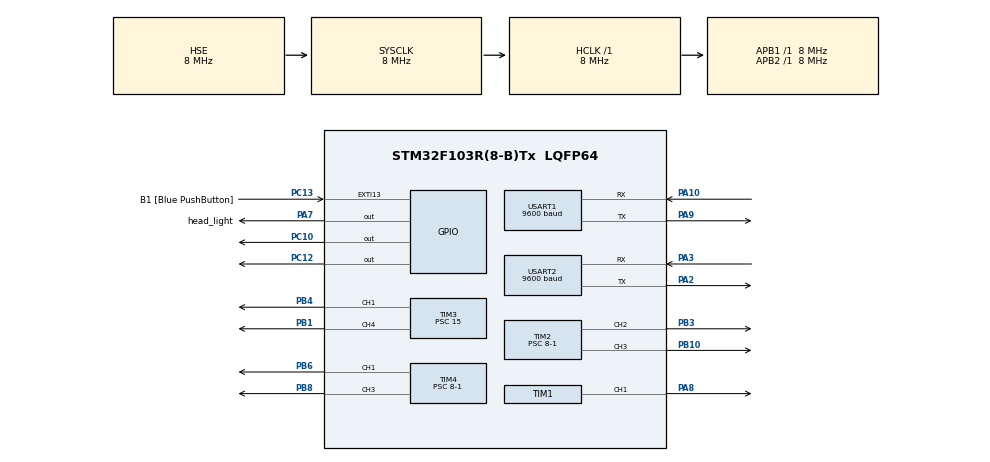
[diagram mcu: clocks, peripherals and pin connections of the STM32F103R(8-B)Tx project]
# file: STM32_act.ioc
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Mcu.Family=STM32F1
Mcu.Name=STM32F103R(8-B)Tx
Mcu.Package=LQFP64
NVIC.EXTI15_10_IRQn=true\:0\:0\:false\:false\:true\:true\:true\:true
NVIC.PriorityGroup=NVIC_PRIORITYGROUP_4
NVIC.TIM2_IRQn=true\:0\:0\:false\:false\:true\:true\:true\:true
NVIC.USART1_IRQn=true\:0\:0\:false\:false\:true\:true\:true\:true
PA10.Mode=Asynchronous
PA10.Signal=USART1_RX
PA13.GPIO_Label=TMS
PA13.Mode=Serial_Wire
PA13.Signal=SYS_JTMS-SWDIO
PA14.GPIO_Label=TCK
PA14.Mode=Serial_Wire
PA14.Signal=SYS_JTCK-SWCLK
PA2.Mode=Asynchronous
PA2.Signal=USART2_TX
PA3.Mode=Asynchronous
PA3.Signal=USART2_RX
PA7.GPIO_Label=head_light
PA7.Signal=GPIO_Output
PA8.Signal=S_TIM1_CH1
PA9.Mode=Asynchronous
PA9.Signal=USART1_TX
PB1.Signal=S_TIM3_CH4
PB10.Signal=S_TIM2_CH3
PB3.Signal=S_TIM2_CH2
PB4.Signal=S_TIM3_CH1
PB6.Signal=S_TIM4_CH1
PB8.Signal=S_TIM4_CH3
PC10.Signal=GPIO_Output
PC12.Signal=GPIO_Output
PC13-TAMPER-RTC.GPIO_Label=B1 [Blue PushButton]
PC13-TAMPER-RTC.GPIO_PuPd=GPIO_NOPULL
PC13-TAMPER-RTC.Signal=GPXTI13
PC14-OSC32_IN.Mode=LSE-External-Oscillator
PC14-OSC32_IN.Signal=RCC_OSC32_IN
PC15-OSC32_OUT.Mode=LSE-External-Oscillator
PC15-OSC32_OUT.Signal=RCC_OSC32_OUT
PD0-OSC_IN.Mode=HSE-External-Clock-Source
PD0-OSC_IN.Signal=RCC_OSC_IN
PD1-OSC_OUT.Mode=HSE-External-Clock-Source
PD1-OSC_OUT.Signal=RCC_OSC_OUT
ProjectManager.HeapSize=0x200
ProjectManager.StackSize=0x400
ProjectManager.TargetToolchain=STM32CubeIDE
RCC.AHBFreq_Value=8000000
RCC.APB1Freq_Value=8000000
RCC.APB1TimFreq_Value=8000000
RCC.APB2Freq_Value=8000000
RCC.APB2TimFreq_Value=8000000
RCC.HCLKFreq_Value=8000000
RCC.PLLMUL=RCC_PLL_MUL16
RCC.RTCClockSelection=RCC_RTCCLKSOURCE_LSE
RCC.SYSCLKFreq_VALUE=8000000
RCC.SYSCLKSource=RCC_SYSCLKSOURCE_HSE
RCC.USBFreq_Value=64000000
SH.S_TIM1_CH1.0=TIM1_CH1,PWM Generation1 CH1
SH.S_TIM2_CH2.0=TIM2_CH2,PWM Generation2 CH2
SH.S_TIM2_CH3.0=TIM2_CH3,PWM Generation3 CH3
SH.S_TIM3_CH1.0=TIM3_CH1,PWM Generation1 CH1
SH.S_TIM3_CH4.0=TIM3_CH4,PWM Generation4 CH4
SH.S_TIM4_CH1.0=TIM4_CH1,PWM Generation1 CH1
SH.S_TIM4_CH3.0=TIM4_CH3,PWM Generation3 CH3
TIM1.Channel-PWM\ Generation1\ CH1=TIM_CHANNEL_1
TIM1.Period=9999
TIM1.Prescaler=15
TIM1.Pulse-PWM\ Generation1\ CH1=850
TIM2.Channel-PWM\ Generation2\ CH2=TIM_CHANNEL_2
TIM2.Channel-PWM\ Generation3\ CH3=TIM_CHANNEL_3
TIM2.Period=1000-1
TIM2.Prescaler=8-1
TIM3.Channel-PWM\ Generation1\ CH1=TIM_CHANNEL_1
TIM3.Channel-PWM\ Generation4\ CH4=TIM_CHANNEL_4
TIM3.Period=9999
TIM3.Prescaler=15
TIM4.Channel-PWM\ Generation1\ CH1=TIM_CHANNEL_1
TIM4.Channel-PWM\ Generation3\ CH3=TIM_CHANNEL_3
TIM4.Period=1000-1
TIM4.Prescaler=8-1
USART1.BaudRate=9600
USART1.VirtualMode=VM_ASYNC
USART2.BaudRate=9600
USART2.VirtualMode=VM_ASYNC
VP_TIM1_VS_ClockSourceINT.Mode=Internal
VP_TIM3_VS_ClockSourceINT.Mode=Internal
board=NUCLEO-F103RB

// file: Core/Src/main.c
/* USER CODE BEGIN Header */
/**
  ******************************************************************************
  * @file           : main.c
  * @brief          : Main program body
  ******************************************************************************
  * @attention
  *
  * Copyright (c) 2025 STMicroelectronics.
  * All rights reserved.
  *
  * This software is licensed under terms that can be found in the LICENSE file
  * in the root directory of this software component.
  * If no LICENSE file comes with this software, it is provided AS-IS.
  *
  ******************************************************************************
  */
/* USER CODE END Header */
#include "main.h"

/* USER CODE BEGIN Includes */
#include "led_driver.h"
#include "buzzer_driver.h"
#include "fan_driver.h"
#include "rgb_driver.h"
#include "scheduler_stm.h"
#include "servo_driver.h"
#include "uart.h"
#include "uart_packet.h"
/* USER CODE END Includes */

TIM_HandleTypeDef htim1;
TIM_HandleTypeDef htim2;
TIM_HandleTypeDef htim3;
TIM_HandleTypeDef htim4;

UART_HandleTypeDef huart1;
UART_HandleTypeDef huart2;

void SystemClock_Config(void);
static void MX_GPIO_Init(void);
static void MX_TIM1_Init(void);
static void MX_TIM3_Init(void);
static void MX_TIM2_Init(void);
static void MX_TIM4_Init(void);
static void MX_USART1_UART_Init(void);
static void MX_USART2_UART_Init(void);
/* USER CODE BEGIN PFP */

/****task prototype******/
void initControlValue(void);
void testTask(void);
void seatTask(void);
void windowTask(void);
void fanTask(void);
void ledTask(void);
void rgbTask(void);
void buzzerTask(void);
void handlePacket(void);
/* USER CODE END PFP */

/* USER CODE BEGIN 0 */
////시스템 시작하자마자 태스크 실행하려면 status = ACTIVATED로 해주면 됩니다.
task_t taskTable[NUM_TASK] = {
  //{task_func_ptr, offsetTime, period, waitedTime, status}
	//{testTask, 1000, 2000, 0, DEACTIVATED},
	{seatTask, 0, 20, 0, ACTIVATED},
	{windowTask, 0, 20, 0, ACTIVATED},
	{fanTask, 0, 75, 0, ACTIVATED},
	{ledTask, 0, 50, 0, ACTIVATED},
	{rgbTask, 0, 100, 0, ACTIVATED},
	{buzzerTask, 0, 10, 0, DEACTIVATED}
};

////for uart
#define RX_BUFFER_SIZE 256

static uint8_t rx_buffer[RX_BUFFER_SIZE];
static struct ActuatorPacket controlPacket = {0,};
uint8_t packetReceived = 0;

static uint8_t tx_buffer[RX_BUFFER_SIZE]; //debug
static struct ActuatorPacket testpacket = {0,}; //debug

typedef enum uart_stage{
    START = 1,
    ID = 2,
    PAYLOAD = 3,
}uart_stage_t;
static uart_stage_t RxStage = START;

/* USER CODE END 0 */

int main(void)
{

  /* MCU Configuration--------------------------------------------------------*/

  /* Reset of all peripherals, Initializes the Flash interface and the Systick. */
  HAL_Init();

  /* Configure the system clock */
  SystemClock_Config();

  /* Initialize all configured peripherals */
  MX_GPIO_Init();
  MX_TIM1_Init();
  MX_TIM3_Init();
  MX_TIM2_Init();
  MX_TIM4_Init();
  MX_USART1_UART_Init();
  MX_USART2_UART_Init();
  /* USER CODE BEGIN 2 */
  initBuzzer();
  initFan();
  initRgb();
  initServo();
  initControlValue();
  initScheduler();

  if(HAL_UART_Receive_IT(&huart1,rx_buffer,1) != HAL_OK){
  	  Error_Handler();
  }

//  if(HAL_UART_Receive_IT(&huart1,rx_buffer + rxPtr,ACTUATOR_PACKET_SIZE) != HAL_OK){
//	  Error_Handler();
//  }

//	controlPacket.driving_mode = DRIVING_TERNEL; // driving_mode 말고 led_rgb 태스크에서 4번째 비트가 1이면 밝기 줄이기
//	controlPacket.servo_chair = 1200;
//	controlPacket.servo_window = 450;
//	controlPacket.led = 1;
//	controlPacket.buzzer = 1;
//	controlPacket.fan = 2;
//	controlPacket.led_rgb = 0x4;
  /* USER CODE END 2 */

  /* Infinite loop */
  /* USER CODE BEGIN WHILE */
  while (1)
  {
    if(packetReceived == 1)
    {
      packetReceived = 0;
      handlePacket();
      //printActuatorPacket();
      RxStage = START;
      HAL_UART_Receive_IT(&huart1,rx_buffer,1);
    }
    scheduler();

    /* USER CODE END WHILE */

  }
}

void SystemClock_Config(void)
{
  RCC_OscInitTypeDef RCC_OscInitStruct = {0};
  RCC_ClkInitTypeDef RCC_ClkInitStruct = {0};

  /** Initializes the RCC Oscillators according to the specified parameters
  * in the RCC_OscInitTypeDef structure.
  */
  RCC_OscInitStruct.OscillatorType = RCC_OSCILLATORTYPE_HSE;
  RCC_OscInitStruct.HSEState = RCC_HSE_BYPASS;
  RCC_OscInitStruct.PLL.PLLState = RCC_PLL_NONE;
  if (HAL_RCC_OscConfig(&RCC_OscInitStruct) != HAL_OK)
  {
    Error_Handler();
  }

  /** Initializes the CPU, AHB and APB buses clocks
  */
  RCC_ClkInitStruct.ClockType = RCC_CLOCKTYPE_HCLK|RCC_CLOCKTYPE_SYSCLK
                              |RCC_CLOCKTYPE_PCLK1|RCC_CLOCKTYPE_PCLK2;
  RCC_ClkInitStruct.SYSCLKSource = RCC_SYSCLKSOURCE_HSE;
  RCC_ClkInitStruct.AHBCLKDivider = RCC_SYSCLK_DIV1;
  RCC_ClkInitStruct.APB1CLKDivider = RCC_HCLK_DIV1;
  RCC_ClkInitStruct.APB2CLKDivider = RCC_HCLK_DIV1;

  if (HAL_RCC_ClockConfig(&RCC_ClkInitStruct, FLASH_LATENCY_0) != HAL_OK)
  {
    Error_Handler();
  }
}

static void MX_TIM1_Init(void)
{

  TIM_ClockConfigTypeDef sClockSourceConfig = {0};
  TIM_MasterConfigTypeDef sMasterConfig = {0};
  TIM_OC_InitTypeDef sConfigOC = {0};
  TIM_BreakDeadTimeConfigTypeDef sBreakDeadTimeConfig = {0};

  htim1.Instance = TIM1;
  htim1.Init.Prescaler = 15;
  htim1.Init.CounterMode = TIM_COUNTERMODE_UP;
  htim1.Init.Period = 9999;
  htim1.Init.ClockDivision = TIM_CLOCKDIVISION_DIV1;
  htim1.Init.RepetitionCounter = 0;
  htim1.Init.AutoReloadPreload = TIM_AUTORELOAD_PRELOAD_DISABLE;
  if (HAL_TIM_Base_Init(&htim1) != HAL_OK)
  {
    Error_Handler();
  }
  sClockSourceConfig.ClockSource = TIM_CLOCKSOURCE_INTERNAL;
  if (HAL_TIM_ConfigClockSource(&htim1, &sClockSourceConfig) != HAL_OK)
  {
    Error_Handler();
  }
  if (HAL_TIM_PWM_Init(&htim1) != HAL_OK)
  {
    Error_Handler();
  }
  sMasterConfig.MasterOutputTrigger = TIM_TRGO_RESET;
  sMasterConfig.MasterSlaveMode = TIM_MASTERSLAVEMODE_DISABLE;
  if (HAL_TIMEx_MasterConfigSynchronization(&htim1, &sMasterConfig) != HAL_OK)
  {
    Error_Handler();
  }
  sConfigOC.OCMode = TIM_OCMODE_PWM1;
  sConfigOC.Pulse = 850;
  sConfigOC.OCPolarity = TIM_OCPOLARITY_HIGH;
  sConfigOC.OCNPolarity = TIM_OCNPOLARITY_HIGH;
  sConfigOC.OCFastMode = TIM_OCFAST_DISABLE;
  sConfigOC.OCIdleState = TIM_OCIDLESTATE_RESET;
  sConfigOC.OCNIdleState = TIM_OCNIDLESTATE_RESET;
  if (HAL_TIM_PWM_ConfigChannel(&htim1, &sConfigOC, TIM_CHANNEL_1) != HAL_OK)
  {
    Error_Handler();
  }
  sBreakDeadTimeConfig.OffStateRunMode = TIM_OSSR_DISABLE;
  sBreakDeadTimeConfig.OffStateIDLEMode = TIM_OSSI_DISABLE;
  sBreakDeadTimeConfig.LockLevel = TIM_LOCKLEVEL_OFF;
  sBreakDeadTimeConfig.DeadTime = 0;
  sBreakDeadTimeConfig.BreakState = TIM_BREAK_DISABLE;
  sBreakDeadTimeConfig.BreakPolarity = TIM_BREAKPOLARITY_HIGH;
  sBreakDeadTimeConfig.AutomaticOutput = TIM_AUTOMATICOUTPUT_DISABLE;
  if (HAL_TIMEx_ConfigBreakDeadTime(&htim1, &sBreakDeadTimeConfig) != HAL_OK)
  {
    Error_Handler();
  }
  HAL_TIM_MspPostInit(&htim1);

}

static void MX_TIM2_Init(void)
{

  TIM_MasterConfigTypeDef sMasterConfig = {0};
  TIM_OC_InitTypeDef sConfigOC = {0};

  htim2.Instance = TIM2;
  htim2.Init.Prescaler = 8-1;
  htim2.Init.CounterMode = TIM_COUNTERMODE_UP;
  htim2.Init.Period = 1000-1;
  htim2.Init.ClockDivision = TIM_CLOCKDIVISION_DIV1;
  htim2.Init.AutoReloadPreload = TIM_AUTORELOAD_PRELOAD_DISABLE;
  if (HAL_TIM_PWM_Init(&htim2) != HAL_OK)
  {
    Error_Handler();
  }
  sMasterConfig.MasterOutputTrigger = TIM_TRGO_RESET;
  sMasterConfig.MasterSlaveMode = TIM_MASTERSLAVEMODE_DISABLE;
  if (HAL_TIMEx_MasterConfigSynchronization(&htim2, &sMasterConfig) != HAL_OK)
  {
    Error_Handler();
  }
  sConfigOC.OCMode = TIM_OCMODE_PWM1;
  sConfigOC.Pulse = 0;
  sConfigOC.OCPolarity = TIM_OCPOLARITY_HIGH;
  sConfigOC.OCFastMode = TIM_OCFAST_DISABLE;
  if (HAL_TIM_PWM_ConfigChannel(&htim2, &sConfigOC, TIM_CHANNEL_2) != HAL_OK)
  {
    Error_Handler();
  }
  if (HAL_TIM_PWM_ConfigChannel(&htim2, &sConfigOC, TIM_CHANNEL_3) != HAL_OK)
  {
    Error_Handler();
  }
  HAL_TIM_MspPostInit(&htim2);

}

static void MX_TIM3_Init(void)
{

  TIM_ClockConfigTypeDef sClockSourceConfig = {0};
  TIM_MasterConfigTypeDef sMasterConfig = {0};
  TIM_OC_InitTypeDef sConfigOC = {0};

  htim3.Instance = TIM3;
  htim3.Init.Prescaler = 15;
  htim3.Init.CounterMode = TIM_COUNTERMODE_UP;
  htim3.Init.Period = 9999;
  htim3.Init.ClockDivision = TIM_CLOCKDIVISION_DIV1;
  htim3.Init.AutoReloadPreload = TIM_AUTORELOAD_PRELOAD_DISABLE;
  if (HAL_TIM_Base_Init(&htim3) != HAL_OK)
  {
    Error_Handler();
  }
  sClockSourceConfig.ClockSource = TIM_CLOCKSOURCE_INTERNAL;
  if (HAL_TIM_ConfigClockSource(&htim3, &sClockSourceConfig) != HAL_OK)
  {
    Error_Handler();
  }
  if (HAL_TIM_PWM_Init(&htim3) != HAL_OK)
  {
    Error_Handler();
  }
  sMasterConfig.MasterOutputTrigger = TIM_TRGO_RESET;
  sMasterConfig.MasterSlaveMode = TIM_MASTERSLAVEMODE_DISABLE;
  if (HAL_TIMEx_MasterConfigSynchronization(&htim3, &sMasterConfig) != HAL_OK)
  {
    Error_Handler();
  }
  sConfigOC.OCMode = TIM_OCMODE_PWM1;
  sConfigOC.Pulse = 0;
  sConfigOC.OCPolarity = TIM_OCPOLARITY_HIGH;
  sConfigOC.OCFastMode = TIM_OCFAST_DISABLE;
  if (HAL_TIM_PWM_ConfigChannel(&htim3, &sConfigOC, TIM_CHANNEL_1) != HAL_OK)
  {
    Error_Handler();
  }
  if (HAL_TIM_PWM_ConfigChannel(&htim3, &sConfigOC, TIM_CHANNEL_4) != HAL_OK)
  {
    Error_Handler();
  }
  HAL_TIM_MspPostInit(&htim3);

}

static void MX_TIM4_Init(void)
{

  TIM_MasterConfigTypeDef sMasterConfig = {0};
  TIM_OC_InitTypeDef sConfigOC = {0};

  htim4.Instance = TIM4;
  htim4.Init.Prescaler = 8-1;
  htim4.Init.CounterMode = TIM_COUNTERMODE_UP;
  htim4.Init.Period = 1000-1;
  htim4.Init.ClockDivision = TIM_CLOCKDIVISION_DIV1;
  htim4.Init.AutoReloadPreload = TIM_AUTORELOAD_PRELOAD_DISABLE;
  if (HAL_TIM_PWM_Init(&htim4) != HAL_OK)
  {
    Error_Handler();
  }
  sMasterConfig.MasterOutputTrigger = TIM_TRGO_RESET;
  sMasterConfig.MasterSlaveMode = TIM_MASTERSLAVEMODE_DISABLE;
  if (HAL_TIMEx_MasterConfigSynchronization(&htim4, &sMasterConfig) != HAL_OK)
  {
    Error_Handler();
  }
  sConfigOC.OCMode = TIM_OCMODE_PWM1;
  sConfigOC.Pulse = 0;
  sConfigOC.OCPolarity = TIM_OCPOLARITY_HIGH;
  sConfigOC.OCFastMode = TIM_OCFAST_DISABLE;
  if (HAL_TIM_PWM_ConfigChannel(&htim4, &sConfigOC, TIM_CHANNEL_1) != HAL_OK)
  {
    Error_Handler();
  }
  if (HAL_TIM_PWM_ConfigChannel(&htim4, &sConfigOC, TIM_CHANNEL_3) != HAL_OK)
  {
    Error_Handler();
  }
  HAL_TIM_MspPostInit(&htim4);

}

static void MX_USART1_UART_Init(void)
{

  huart1.Instance = USART1;
  huart1.Init.BaudRate = 9600;
  huart1.Init.WordLength = UART_WORDLENGTH_8B;
  huart1.Init.StopBits = UART_STOPBITS_1;
  huart1.Init.Parity = UART_PARITY_NONE;
  huart1.Init.Mode = UART_MODE_TX_RX;
  huart1.Init.HwFlowCtl = UART_HWCONTROL_NONE;
  huart1.Init.OverSampling = UART_OVERSAMPLING_16;
  if (HAL_UART_Init(&huart1) != HAL_OK)
  {
    Error_Handler();
  }

}

static void MX_USART2_UART_Init(void)
{

  huart2.Instance = USART2;
  huart2.Init.BaudRate = 9600;
  huart2.Init.WordLength = UART_WORDLENGTH_8B;
  huart2.Init.StopBits = UART_STOPBITS_1;
  huart2.Init.Parity = UART_PARITY_NONE;
  huart2.Init.Mode = UART_MODE_TX_RX;
  huart2.Init.HwFlowCtl = UART_HWCONTROL_NONE;
  huart2.Init.OverSampling = UART_OVERSAMPLING_16;
  if (HAL_UART_Init(&huart2) != HAL_OK)
  {
    Error_Handler();
  }

}

static void MX_GPIO_Init(void)
{
  GPIO_InitTypeDef GPIO_InitStruct = {0};

  /* GPIO Ports Clock Enable */
  __HAL_RCC_GPIOC_CLK_ENABLE();
  __HAL_RCC_GPIOD_CLK_ENABLE();
  __HAL_RCC_GPIOA_CLK_ENABLE();
  __HAL_RCC_GPIOB_CLK_ENABLE();

  /*Configure GPIO pin Output Level */
  HAL_GPIO_WritePin(head_light_GPIO_Port, head_light_Pin, GPIO_PIN_RESET);

  /*Configure GPIO pin Output Level */
  HAL_GPIO_WritePin(GPIOC, GPIO_PIN_10|GPIO_PIN_12, GPIO_PIN_RESET);

  /*Configure GPIO pin : B1_Pin */
  GPIO_InitStruct.Pin = B1_Pin;
  GPIO_InitStruct.Mode = GPIO_MODE_IT_RISING;
  GPIO_InitStruct.Pull = GPIO_NOPULL;
  HAL_GPIO_Init(B1_GPIO_Port, &GPIO_InitStruct);

  /*Configure GPIO pin : head_light_Pin */
  GPIO_InitStruct.Pin = head_light_Pin;
  GPIO_InitStruct.Mode = GPIO_MODE_OUTPUT_PP;
  GPIO_InitStruct.Pull = GPIO_NOPULL;
  GPIO_InitStruct.Speed = GPIO_SPEED_FREQ_LOW;
  HAL_GPIO_Init(head_light_GPIO_Port, &GPIO_InitStruct);

  /*Configure GPIO pins : PC10 PC12 */
  GPIO_InitStruct.Pin = GPIO_PIN_10|GPIO_PIN_12;
  GPIO_InitStruct.Mode = GPIO_MODE_OUTPUT_PP;
  GPIO_InitStruct.Pull = GPIO_NOPULL;
  GPIO_InitStruct.Speed = GPIO_SPEED_FREQ_LOW;
  HAL_GPIO_Init(GPIOC, &GPIO_InitStruct);

  /* EXTI interrupt init*/
  HAL_NVIC_SetPriority(EXTI15_10_IRQn, 0, 0);
  HAL_NVIC_EnableIRQ(EXTI15_10_IRQn);

}

/* USER CODE BEGIN 4 */
void printActuatorPacket(void)
{
    char msg[64];
    int len;

    // 1. start_byte
    len = snprintf(msg, sizeof(msg), "start_byte: 0x%02X\r\n", controlPacket.start_byte);
    HAL_UART_Transmit(&huart2, (uint8_t*)msg, len, HAL_MAX_DELAY);

    // 2. packet_id
    len = snprintf(msg, sizeof(msg), "packet_id:  0x%02X\r\n", controlPacket.packet_id);
    HAL_UART_Transmit(&huart2, (uint8_t*)msg, len, HAL_MAX_DELAY);

    // 3. RGB bits
    len = snprintf(msg, sizeof(msg),
        "LED RGB:    R=%u G=%u B=%u\r\n",
		controlPacket.R, controlPacket.G, controlPacket.B);
    HAL_UART_Transmit(&huart2, (uint8_t*)msg, len, HAL_MAX_DELAY);

    // 4. fan, led, buzzer, driving_mode
    len = snprintf(msg, sizeof(msg),
        "fan: %u  led: %u  buzzer: %u  mode: %u\r\n",
        controlPacket.fan, controlPacket.led, controlPacket.buzzer, controlPacket.driving_mode);
    HAL_UART_Transmit(&huart2, (uint8_t*)msg, len, HAL_MAX_DELAY);

    // 5. servo angles
    len = snprintf(msg, sizeof(msg),
        "servo_chair:  %u\r\n"
        "servo_window: %u\r\n"
        "front_distance: %u\r\n",
        controlPacket.servo_chair,
        controlPacket.servo_window,
        controlPacket.front_distance);
    HAL_UART_Transmit(&huart2, (uint8_t*)msg, len, HAL_MAX_DELAY);

    // 6. crc
    len = snprintf(msg, sizeof(msg), "crc: 0x%02X\r\n\r\n", controlPacket.crc);
    HAL_UART_Transmit(&huart2, (uint8_t*)msg, len, HAL_MAX_DELAY);
}
void handlePacket(void)
{
	uint8_t _crc = calculate_checksum(rx_buffer,ACTUATOR_PACKET_SIZE-1);

	if(_crc == rx_buffer[ACTUATOR_PACKET_SIZE-1])
	{
		deserialize_actuator_packet(rx_buffer, &controlPacket);
	}
	else
	{
		//do nothing
	}

}
void HAL_UART_RxCpltCallback(UART_HandleTypeDef *huart)
  {
    if(huart->Instance == huart1.Instance)
    {
      switch(RxStage)
      {
        case START:
          if(rx_buffer[0] == UART_START_BYTE)
          {
            RxStage = ID;
            HAL_UART_Receive_IT(&huart1, rx_buffer + 1, 1);
          }
          else
          {
            HAL_UART_Receive_IT(&huart1, rx_buffer, 1);
          }
          break;
        case ID:
          if(rx_buffer[1] == ACTUATOR_PACKET_ID)
          {
            RxStage = PAYLOAD;
            HAL_UART_Receive_IT(&huart1, rx_buffer+2, ACTUATOR_PACKET_SIZE-2);
          }
          else
          {
            RxStage = START;
            HAL_UART_Receive_IT(&huart1, rx_buffer, 1);
          }
          break;
        case PAYLOAD:
          packetReceived = 1;
          break;
        default:
      };
    }
  }
void HAL_UART_ErrorCallback(UART_HandleTypeDef *huart)
{
  if(huart->Instance == huart1.Instance)
  {
	  RxStage = START;
	  HAL_UART_Receive_IT(&huart1, rx_buffer, 1);
  }
}
void initControlValue(void)
{
	controlPacket.servo_chair = arrayServo[SERVO_SEAT].initialPulse;
	controlPacket.servo_window = arrayServo[SERVO_WINDOW].initialPulse;
	controlPacket.led = 0;
	controlPacket.buzzer = 0;
	controlPacket.fan = 0;
	controlPacket.led_rgb = 0;
}
//void testTask(void)
//{
//	static int a = 0;
//
//	if(a == 0)
//	{
//		a = 1;
//		testpacket.servo_chair = 1200;
//		testpacket.servo_window = 450;
//		testpacket.led = 1;
//		testpacket.led_rgb = 7;
//		testpacket.fan = 3;
//		serialize_actuator_packet(&testpacket,tx_buffer);
//		if(HAL_UART_Transmit_IT(&huart1,tx_buffer , ACTUATOR_PACKET_SIZE) != HAL_OK)
//		{
//		  Error_Handler();
//		}
//	}
//	else
//	{
//		a = 0;
//		testpacket.servo_chair = 450;
//		testpacket.servo_window = 1200;
//		testpacket.led = 0;
//		testpacket.led_rgb = 0x000;
//		testpacket.fan = 0;
//		serialize_actuator_packet(&testpacket,tx_buffer);
//		if(HAL_UART_Transmit_IT(&huart1,tx_buffer , ACTUATOR_PACKET_SIZE) != HAL_OK)
//		{
//		  Error_Handler();
//		}
//	}
//}
void seatTask(void)
{
	uint16_t unitPulse = getUnitPulse(SERVO_SEAT);
	uint16_t currentPulse = getPulse(SERVO_SEAT);
	if(controlPacket.servo_chair > currentPulse)
	{
		if((controlPacket.servo_chair) - currentPulse > unitPulse)
		{
			setPulse(SERVO_SEAT,(currentPulse+unitPulse));
		}
		else
		{
			//do nothing
		}
	}
	else if(controlPacket.servo_chair < currentPulse)
	{
		if((currentPulse - controlPacket.servo_chair) > unitPulse)
		{
			setPulse(SERVO_SEAT,(currentPulse-unitPulse));
		}
		else
		{
			//do nothing
		}
	}
}
void windowTask(void)
{
	uint16_t unitPulse = getUnitPulse(SERVO_WINDOW);
	uint16_t currentPulse = getPulse(SERVO_WINDOW);
	if(controlPacket.servo_window > currentPulse)
	{
		if((controlPacket.servo_window) - currentPulse > unitPulse)
		{
			setPulse(SERVO_WINDOW,(currentPulse+unitPulse));
		}
		else
		{
			//do nothing
		}
	}
	else if(controlPacket.servo_window < currentPulse)
	{
		if((currentPulse - controlPacket.servo_window) > unitPulse)
		{
			setPulse(SERVO_WINDOW,(currentPulse-unitPulse));
		}
		else
		{
			//do nothing
		}
	}
}
void fanTask(void)
{
	setLevelFan(controlPacket.fan);
}
void ledTask(void)
{
	if(controlPacket.led == 0)
	{
		offHeadLight();
	}
	else
	{
		onHeadLight();
	}
}
void rgbTask(void)
{
	static uint8_t rgb_red =0;
	static uint8_t rgb_green =0;
	static uint8_t rgb_blue =0;
	static uint8_t rgb_mode =0;
	rgb_red = 0x1 & controlPacket.led_rgb ;
	rgb_green = 0x2 & controlPacket.led_rgb ;
	rgb_blue = 0x4 & controlPacket.led_rgb ;
	rgb_mode = controlPacket.MODE; //led_rgb의 4번쨰 비트가 0이면 일반 모드, 1이면 터널모드(밝기 30퍼)

	if(rgb_mode)
	{
		setColorRgb(30*rgb_red, 30*rgb_green, 30*rgb_blue);
	}
	else
	{
		setColorRgb(999*rgb_red, 999*rgb_green, 999*rgb_blue);
	}
}
void buzzerTask(void)
{

    static uint32_t last_tick = 0;
    static uint8_t buzzer_state = 0;
    static uint8_t step_count = 0;
    static uint8_t buzzer_on = 0;

    uint32_t now = HAL_GetTick();

    if(controlPacket.buzzer != 0 && buzzer_on == 0)
    {
      buzzer_on = 1;
    }

    if(buzzer_on)
    {
      switch (buzzer_state) {
        case 0:
            onBuzzer();
            last_tick = now;
            buzzer_state = 1;
            break;

        case 1:
            if (now - last_tick >= 300) {
                offBuzzer();
                last_tick = now;
                buzzer_state = 2;
            }
            break;

        case 2:
            if (now - last_tick >= 100) {
                step_count++;
                if (step_count >= 3) {
                    buzzer_on = 0;
                } else {
                    onBuzzer();
                    last_tick = now;
                    buzzer_state = 1;
                }
            }
            break;
      }
    }

   return;
}
/* USER CODE END 4 */

void Error_Handler(void)
{
  __disable_irq();
  while (1)
  {
  }
}
